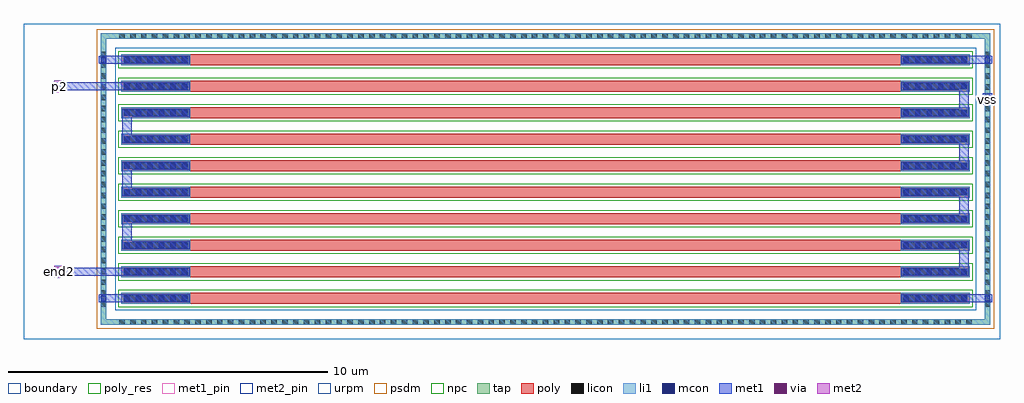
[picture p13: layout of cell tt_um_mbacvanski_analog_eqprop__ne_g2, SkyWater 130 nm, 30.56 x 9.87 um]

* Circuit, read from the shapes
.subckt tt_um_mbacvanski_analog_eqprop__ne_g2 end2 p2 vss
XR1 vss vss vss sky130_fd_pr__res_xhigh_po w=0.35 l=22.28 m=2
XR2 tt_um_mbacvanski_analog_eqprop__ne_g2_xpoly_0/R1_7 end2 vss sky130_fd_pr__res_xhigh_po w=0.35 l=22.28
XR3 tt_um_mbacvanski_analog_eqprop__ne_g2_xpoly_0/R1_7 tt_um_mbacvanski_analog_eqprop__ne_g2_xpoly_0/R2_6 vss sky130_fd_pr__res_xhigh_po w=0.35 l=22.28
XR4 tt_um_mbacvanski_analog_eqprop__ne_g2_xpoly_0/R1_5 tt_um_mbacvanski_analog_eqprop__ne_g2_xpoly_0/R2_6 vss sky130_fd_pr__res_xhigh_po w=0.35 l=22.28
XR5 tt_um_mbacvanski_analog_eqprop__ne_g2_xpoly_0/R1_5 tt_um_mbacvanski_analog_eqprop__ne_g2_xpoly_0/R2_4 vss sky130_fd_pr__res_xhigh_po w=0.35 l=22.28
XR6 tt_um_mbacvanski_analog_eqprop__ne_g2_xpoly_0/R1_3 tt_um_mbacvanski_analog_eqprop__ne_g2_xpoly_0/R2_4 vss sky130_fd_pr__res_xhigh_po w=0.35 l=22.28
XR7 tt_um_mbacvanski_analog_eqprop__ne_g2_xpoly_0/R1_3 tt_um_mbacvanski_analog_eqprop__ne_g2_xpoly_0/R2_2 vss sky130_fd_pr__res_xhigh_po w=0.35 l=22.28
XR8 tt_um_mbacvanski_analog_eqprop__ne_g2_xpoly_0/R1_1 tt_um_mbacvanski_analog_eqprop__ne_g2_xpoly_0/R2_2 vss sky130_fd_pr__res_xhigh_po w=0.35 l=22.28
XR9 tt_um_mbacvanski_analog_eqprop__ne_g2_xpoly_0/R1_1 p2 vss sky130_fd_pr__res_xhigh_po w=0.35 l=22.28
.ends

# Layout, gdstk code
from math import pi, radians
import gdstk
lib = gdstk.Library(unit=1e-6, precision=1e-09)
def R(c, l, rs):  # rectangles x0, y0, x1, y1
    for r in rs: c.add(gdstk.rectangle(r[:2], r[2:], *l))
def A(c, l, x, y, w, h, nx, ny, dx, dy):  # array of equal rectangles
    R(c, l, [(x+i*dx, y+j*dy, x+i*dx+w, y+j*dy+h) for i in range(nx) for j in range(ny)])
tap = (65, 44)
poly_res = (66, 13)
poly = (66, 20)
licon = (66, 44)
li1 = (67, 20)
mcon = (67, 44)
met1_pin = (68, 16)
met1 = (68, 20)
via = (68, 44)
met2_pin = (69, 16)
met2 = (69, 20)
urpm = (79, 20)
psdm = (94, 20)
npc = (95, 20)
boundary = (235, 4)

tt_um_mbacvanski_analog_ = lib.new_cell('tt_um_mbacvanski_analog_eqprop__ne_g2_xpoly')
A(tt_um_mbacvanski_analog_, poly_res, -3.91, -11.2, 0.35, 22.4, 10, 1, 0.83, 0)
A(tt_um_mbacvanski_analog_, poly, -3.91, -13.28, 0.35, 26.56, 10, 1, 0.83, 0)
A(tt_um_mbacvanski_analog_, licon, -3.83, -13.2, 0.19, 2, 10, 2, 0.83, 24.4)
A(tt_um_mbacvanski_analog_, li1, -3.91, -13.28, 0.35, 2.16, 10, 2, 0.83, 24.4)
A(tt_um_mbacvanski_analog_, mcon, -3.82, -13.185, 0.17, 0.17, 10, 6, 0.83, 0.36)
A(tt_um_mbacvanski_analog_, mcon, -3.82, 11.21, 0.17, 0.17, 10, 6, 0.83, 0.36)
A(tt_um_mbacvanski_analog_, met1, -3.86, -13.25, 0.25, 2.105, 10, 2, 0.83, 24.395)
R(tt_um_mbacvanski_analog_, urpm, [(-4.11,-13.48,4.11,13.48)])
R(tt_um_mbacvanski_analog_, psdm, [(-4.02,-13.39,4.02,13.39)])
A(tt_um_mbacvanski_analog_, npc, -4.005, -13.375, 0.54, 26.75, 10, 1, 0.83, 0)
tt_um_mbacvanski_analog_.add(gdstk.Label('R2_9', (3.735,-13.105), layer=67, texttype=5))
tt_um_mbacvanski_analog_.add(gdstk.Label('R1_9', (3.735,13.105), layer=67, texttype=5))
tt_um_mbacvanski_analog_.add(gdstk.Label('R2_8', (2.905,-13.105), layer=67, texttype=5))
tt_um_mbacvanski_analog_.add(gdstk.Label('R1_8', (2.905,13.105), layer=67, texttype=5))
tt_um_mbacvanski_analog_.add(gdstk.Label('R2_7', (2.075,-13.105), layer=67, texttype=5))
tt_um_mbacvanski_analog_.add(gdstk.Label('R1_7', (2.075,13.105), layer=67, texttype=5))
tt_um_mbacvanski_analog_.add(gdstk.Label('R2_6', (1.245,-13.105), layer=67, texttype=5))
tt_um_mbacvanski_analog_.add(gdstk.Label('R1_0', (-3.735,13.105), layer=67, texttype=5))
tt_um_mbacvanski_analog_.add(gdstk.Label('R1_3', (-1.245,13.105), layer=67, texttype=5))
tt_um_mbacvanski_analog_.add(gdstk.Label('R1_1', (-2.905,13.105), layer=67, texttype=5))
tt_um_mbacvanski_analog_.add(gdstk.Label('R2_5', (0.415,-13.105), layer=67, texttype=5))
tt_um_mbacvanski_analog_.add(gdstk.Label('R2_0', (-3.735,-13.105), layer=67, texttype=5))
tt_um_mbacvanski_analog_.add(gdstk.Label('R2_1', (-2.905,-13.105), layer=67, texttype=5))
tt_um_mbacvanski_analog_.add(gdstk.Label('R2_2', (-2.075,-13.105), layer=67, texttype=5))
tt_um_mbacvanski_analog_.add(gdstk.Label('R1_6', (1.245,13.105), layer=67, texttype=5))
tt_um_mbacvanski_analog_.add(gdstk.Label('R2_3', (-1.245,-13.105), layer=67, texttype=5))
tt_um_mbacvanski_analog_.add(gdstk.Label('R1_2', (-2.075,13.105), layer=67, texttype=5))
tt_um_mbacvanski_analog_.add(gdstk.Label('R2_4', (-0.415,-13.105), layer=67, texttype=5))
tt_um_mbacvanski_analog_.add(gdstk.Label('R1_5', (0.415,13.105), layer=67, texttype=5))
tt_um_mbacvanski_analog_.add(gdstk.Label('R1_4', (-0.415,13.105), layer=67, texttype=5))

c_tt_um_mbacvanski_analog_ = lib.new_cell('tt_um_mbacvanski_analog_eqprop__ne_g2')
R(c_tt_um_mbacvanski_analog_, tap, [(2.4,0.45,30.26,0.62), (2.4,0.62,2.57,9.4), (30.09,0.62,30.26,9.4), (2.4,9.4,30.26,9.57)])
A(c_tt_um_mbacvanski_analog_, licon, 2.985, 0.45, 0.17, 0.17, 79, 2, 0.34, 8.95)
A(c_tt_um_mbacvanski_analog_, licon, 2.4, 1.015, 0.17, 0.17, 1, 24, 0, 0.34)
A(c_tt_um_mbacvanski_analog_, licon, 30.09, 1.015, 0.17, 0.17, 1, 24, 0, 0.34)
R(c_tt_um_mbacvanski_analog_, li1, [(2.4,0.45,30.26,0.62), (2.4,0.62,2.57,9.4), (30.09,0.62,30.26,9.4), (2.4,9.4,30.26,9.57)])
R(c_tt_um_mbacvanski_analog_, mcon, [(2.4,1.19,2.57,1.36), (30.09,1.19,30.26,1.36), (30.09,7.43,30.26,7.6), (2.4,8.66,2.57,8.83), (30.09,8.66,30.26,8.83)])
R(c_tt_um_mbacvanski_analog_, met1_pin, [(30.125,7.465,30.225,7.565)])
A(c_tt_um_mbacvanski_analog_, met1, 29.28, 1.98, 0.3, 1.08, 1, 4, 0, 1.66)
A(c_tt_um_mbacvanski_analog_, met1, 3.08, 2.81, 0.3, 1.08, 1, 3, 0, 1.66)
R(c_tt_um_mbacvanski_analog_, met1, [(2.37,1.15,3.18,1.16), (29.48,1.15,30.29,1.16), (2.34,1.16,3.18,1.39), (29.48,1.16,30.32,1.39), (2.37,1.39,3.18,1.4), (29.48,1.39,30.29,1.4), (0.92,1.975,1.28,1.98), (0.92,1.98,3.2,2.23), (0.92,2.23,1.28,2.235), (30.025,7.335,30.325,7.695), (0.92,7.785,1.28,7.79), (0.92,7.79,3.2,8.04), (0.92,8.04,1.28,8.045), (2.37,8.62,3.18,8.63), (29.48,8.62,30.29,8.63), (2.34,8.63,3.18,8.86), (29.48,8.63,30.32,8.86), (2.37,8.86,3.18,8.87), (29.48,8.86,30.29,8.87)])
R(c_tt_um_mbacvanski_analog_, via, [(1.025,2.03,1.175,2.18), (1.025,7.84,1.175,7.99)])
R(c_tt_um_mbacvanski_analog_, met2_pin, [(1.05,2.055,1.15,2.155), (1.05,7.865,1.15,7.965)])
R(c_tt_um_mbacvanski_analog_, met2, [(0.95,1.915,1.25,2.295), (0.95,7.725,1.25,8.105)])
R(c_tt_um_mbacvanski_analog_, psdm, [(2.275,0.325,30.385,0.99), (2.275,0.99,2.94,9.03), (29.72,0.99,30.385,9.03), (2.275,9.03,30.385,9.695)])
R(c_tt_um_mbacvanski_analog_, boundary, [(0,0,30.56,9.87)])
c_tt_um_mbacvanski_analog_.add(gdstk.Reference(tt_um_mbacvanski_analog_, (16.33,5.01), rotation=3*pi/2))
c_tt_um_mbacvanski_analog_.add(gdstk.Label('vss', (30.175,7.515), layer=68, texttype=5))
c_tt_um_mbacvanski_analog_.add(gdstk.Label('end2', (1.1,2.105), layer=69, texttype=5))
c_tt_um_mbacvanski_analog_.add(gdstk.Label('p2', (1.1,7.915), layer=69, texttype=5))

lib.write_gds('tt_um_mbacvanski_analog_eqprop__ne_g2.gds')
